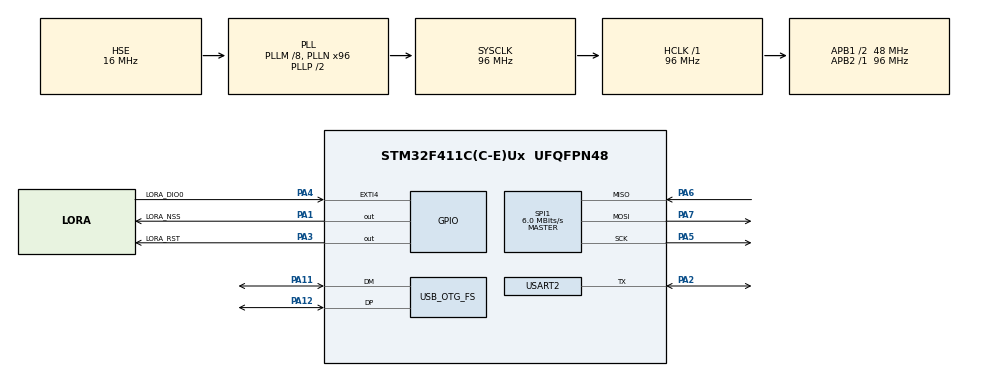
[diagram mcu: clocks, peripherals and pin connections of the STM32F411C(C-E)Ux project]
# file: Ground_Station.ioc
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Mcu.Family=STM32F4
Mcu.Name=STM32F411C(C-E)Ux
Mcu.Package=UFQFPN48
NVIC.EXTI4_IRQn=true\:0\:0\:false\:false\:true\:true\:true\:true
NVIC.OTG_FS_IRQn=true\:0\:0\:false\:false\:true\:false\:true\:true
NVIC.PriorityGroup=NVIC_PRIORITYGROUP_4
PA1.GPIO_Label=LORA_NSS
PA1.PinState=GPIO_PIN_SET
PA1.Signal=GPIO_Output
PA11.Mode=Device_Only
PA11.Signal=USB_OTG_FS_DM
PA12.Mode=Device_Only
PA12.Signal=USB_OTG_FS_DP
PA13.Mode=Serial_Wire
PA13.Signal=SYS_JTMS-SWDIO
PA14.Mode=Serial_Wire
PA14.Signal=SYS_JTCK-SWCLK
PA2.Mode=Half_duplex(single_wire_mode)
PA2.Signal=USART2_TX
PA3.GPIO_Label=LORA_RST
PA3.PinState=GPIO_PIN_SET
PA3.Signal=GPIO_Output
PA4.GPIO_Label=LORA_DIO0
PA4.Signal=GPXTI4
PA5.Mode=Full_Duplex_Master
PA5.Signal=SPI1_SCK
PA6.Mode=Full_Duplex_Master
PA6.Signal=SPI1_MISO
PA7.Mode=Full_Duplex_Master
PA7.Signal=SPI1_MOSI
PH0\ -\ OSC_IN.Mode=HSE-External-Oscillator
PH0\ -\ OSC_IN.Signal=RCC_OSC_IN
PH1\ -\ OSC_OUT.Mode=HSE-External-Oscillator
PH1\ -\ OSC_OUT.Signal=RCC_OSC_OUT
ProjectManager.HeapSize=0x200
ProjectManager.StackSize=0x400
ProjectManager.TargetToolchain=STM32CubeIDE
RCC.48MHZClocksFreq_Value=48000000
RCC.AHBFreq_Value=96000000
RCC.APB1CLKDivider=RCC_HCLK_DIV2
RCC.APB1Freq_Value=48000000
RCC.APB1TimFreq_Value=96000000
RCC.APB2Freq_Value=96000000
RCC.APB2TimFreq_Value=96000000
RCC.CortexFreq_Value=96000000
RCC.HCLKFreq_Value=96000000
RCC.HSE_VALUE=16000000
RCC.HSI_VALUE=16000000
RCC.LSE_VALUE=32768
RCC.PLLM=8
RCC.PLLN=96
RCC.SYSCLKFreq_VALUE=96000000
RCC.SYSCLKSource=RCC_SYSCLKSOURCE_PLLCLK
RCC.VCOOutputFreq_Value=192000000
SPI1.BaudRatePrescaler=SPI_BAUDRATEPRESCALER_16
SPI1.CalculateBaudRate=6.0 MBits/s
SPI1.Direction=SPI_DIRECTION_2LINES
SPI1.Mode=SPI_MODE_MASTER
SPI1.VirtualType=VM_MASTER
USART2.VirtualMode=VM_ASYNC
USB_DEVICE.CLASS_NAME_FS=CDC
USB_DEVICE.VirtualMode=Cdc
USB_DEVICE.VirtualModeFS=Cdc_FS
USB_OTG_FS.VirtualMode=Device_Only
VP_USB_DEVICE_VS_USB_DEVICE_CDC_FS.Mode=CDC_FS
board=custom

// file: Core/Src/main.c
/* USER CODE BEGIN Header */
/**
 ******************************************************************************
 * @file           : main.c
 * @brief          : Main program body
 ******************************************************************************
 * @attention
 *
 * Copyright (c) 2023 STMicroelectronics.
 * All rights reserved.
 *
 * This software is licensed under terms that can be found in the LICENSE file
 * in the root directory of this software component.
 * If no LICENSE file comes with this software, it is provided AS-IS.
 *
 ******************************************************************************
 */
/* USER CODE END Header */
#include "main.h"
#include "spi.h"
#include "usart.h"
#include "usb_device.h"
#include "gpio.h"

/* USER CODE BEGIN Includes */
#include "LoRa.h"
/* USER CODE END Includes */

/* USER CODE BEGIN PV */
LoRa Ra02r;
uint16_t LoRa_status = 0;
uint16_t status = 0;
char UART_Data[64];
uint8_t UART_STR_Size;

uint8_t COM_Port_Data[64];
uint8_t COM_STR_Size;

uint8_t receive_data[64];

/* USER CODE END PV */

void SystemClock_Config(void);

int main(void)
{

  /* MCU Configuration--------------------------------------------------------*/

  /* Reset of all peripherals, Initializes the Flash interface and the Systick. */
  HAL_Init();

  /* Configure the system clock */
  SystemClock_Config();

  /* Initialize all configured peripherals */
  MX_GPIO_Init();
  MX_SPI1_Init();
  MX_USART2_UART_Init();
  MX_USB_DEVICE_Init();
  /* USER CODE BEGIN 2 */

	Ra02r = newLoRa();
	Ra02r.CS_port = LORA_NSS_GPIO_Port;
	Ra02r.CS_pin = LORA_NSS_Pin;
	Ra02r.reset_port = LORA_RST_GPIO_Port;
	Ra02r.reset_pin = LORA_RST_Pin;
	Ra02r.DIO0_port = LORA_DIO0_GPIO_Port;
	Ra02r.DIO0_pin = LORA_DIO0_Pin;
	Ra02r.hSPIx = &hspi1;
	Ra02r.bandWidth = BW_500KHz;

	status = LoRa_init(&Ra02r);
	if ( status == LORA_OK) {
		LoRa_status = 1;

	}
	LoRa_startReceiving(&Ra02r);
	uint8_t packet_size = 0;

  /* USER CODE END 2 */

  /* Infinite loop */
  /* USER CODE BEGIN WHILE */
	while (1) {
		HAL_Delay(200);
		packet_size = LoRa_receive(&Ra02r,receive_data, sizeof(receive_data));
		COM_STR_Size = sprintf(COM_Port_Data, "%s, RSSI: %d \r\n",receive_data, LoRa_getRSSI(&Ra02r));
		CDC_Transmit_FS(COM_Port_Data, COM_STR_Size);
    /* USER CODE END WHILE */

	}
}

void SystemClock_Config(void)
{
  RCC_OscInitTypeDef RCC_OscInitStruct = {0};
  RCC_ClkInitTypeDef RCC_ClkInitStruct = {0};

  /** Configure the main internal regulator output voltage
  */
  __HAL_RCC_PWR_CLK_ENABLE();
  __HAL_PWR_VOLTAGESCALING_CONFIG(PWR_REGULATOR_VOLTAGE_SCALE1);

  /** Initializes the RCC Oscillators according to the specified parameters
  * in the RCC_OscInitTypeDef structure.
  */
  RCC_OscInitStruct.OscillatorType = RCC_OSCILLATORTYPE_HSE;
  RCC_OscInitStruct.HSEState = RCC_HSE_ON;
  RCC_OscInitStruct.PLL.PLLState = RCC_PLL_ON;
  RCC_OscInitStruct.PLL.PLLSource = RCC_PLLSOURCE_HSE;
  RCC_OscInitStruct.PLL.PLLM = 8;
  RCC_OscInitStruct.PLL.PLLN = 96;
  RCC_OscInitStruct.PLL.PLLP = RCC_PLLP_DIV2;
  RCC_OscInitStruct.PLL.PLLQ = 4;
  if (HAL_RCC_OscConfig(&RCC_OscInitStruct) != HAL_OK)
  {
    Error_Handler();
  }

  /** Initializes the CPU, AHB and APB buses clocks
  */
  RCC_ClkInitStruct.ClockType = RCC_CLOCKTYPE_HCLK|RCC_CLOCKTYPE_SYSCLK
                              |RCC_CLOCKTYPE_PCLK1|RCC_CLOCKTYPE_PCLK2;
  RCC_ClkInitStruct.SYSCLKSource = RCC_SYSCLKSOURCE_PLLCLK;
  RCC_ClkInitStruct.AHBCLKDivider = RCC_SYSCLK_DIV1;
  RCC_ClkInitStruct.APB1CLKDivider = RCC_HCLK_DIV2;
  RCC_ClkInitStruct.APB2CLKDivider = RCC_HCLK_DIV1;

  if (HAL_RCC_ClockConfig(&RCC_ClkInitStruct, FLASH_LATENCY_3) != HAL_OK)
  {
    Error_Handler();
  }
}

void Error_Handler(void)
{
	__disable_irq();
	while (1) {
	}
}
